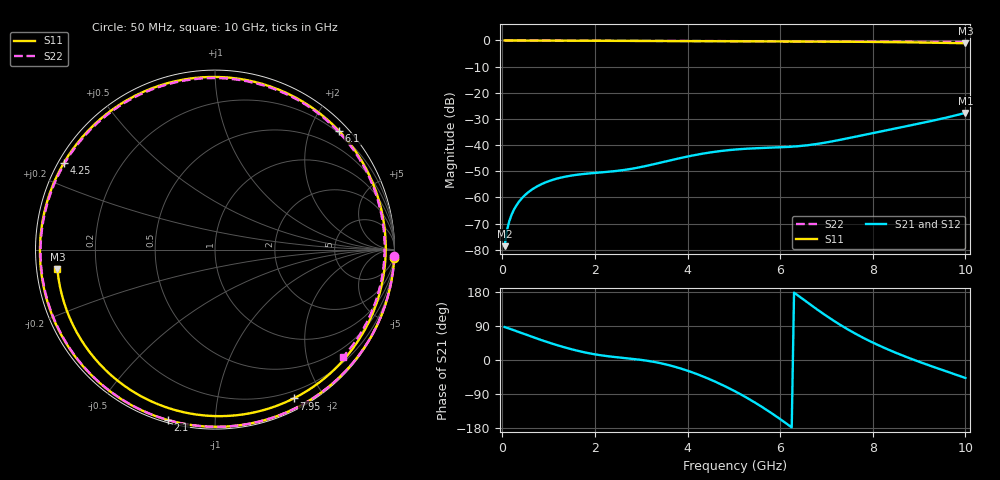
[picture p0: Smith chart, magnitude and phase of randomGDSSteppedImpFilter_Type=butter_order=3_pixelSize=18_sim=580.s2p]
! freq	dB(S11)	phase(S11)	dB(S12)	phase(S12)
!  dB(S21)	phase(S21)	dB(S22)	phase(S22)
!S-par simulation data
#  GHz  S  DB  R 50
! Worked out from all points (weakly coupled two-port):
!   200 points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, 50 MHz to 10 GHz, reference 50 ohm
!   highest |S21| = -27.69 dB at 10 GHz (marker M1); lowest = -78.6 dB at 50 MHz (marker M2)
!   lowest |S11| = -1.1 dB at 10 GHz (marker M3), VSWR 16.39, Z = 3.06 - j3.13 ohm
!   |S11| at or under -10 dB: nowhere
!   |S22| runs from -0.6 to 0.0 dB; largest |S21 - S12| = 0
!   S11 on the Smith chart (normalised r, x): 50 MHz: 0, -43; 2.1 GHz: 0.01, -0.76; 4.25 GHz: 0.02, +0.27; 6.1 GHz: 0.16, +2.49; 7.95 GHz: 0.12, -1.65; 10 GHz: 0.06, -0.06
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0.05  -0.00 -2.6  -78.63 86.9  -78.63 86.9  -0.00 -2.0
0.1  -0.01 -5.3  -72.62 85.1  -72.62 85.1  -0.00 -4.0
0.2  -0.01 -10.4  -66.64 80.7  -66.64 80.7  -0.01 -8.0
0.5  -0.03 -26.0  -58.94 67.3  -58.94 67.3  -0.03 -19.9
1.15  -0.08 -59.0  -52.95 40.4  -52.95 40.4  -0.06 -45.3
1.75  -0.11 -88.5  -51.04 20.9  -51.04 20.9  -0.09 -68.3
2.1  -0.13 -105.4  -50.48 13.0  -50.48 13.0  -0.10 -81.4
2.8  -0.16 -138.6  -49.03 3.1  -49.03 3.1  -0.13 -107.2
3.4  -0.20 -167.3  -46.78 -8.0  -46.78 -8.0  -0.16 -129.0
3.85  -0.23 170.6  -44.93 -22.3  -44.93 -22.3  -0.19 -145.5
4.25  -0.26 150.1  -43.51 -39.4  -43.51 -39.4  -0.21 -160.2
5.05  -0.32 106.2  -41.66 -84.2  -41.66 -84.2  -0.27 169.3
5.55  -0.35 76.9  -41.14 -119.4  -41.14 -119.4  -0.30 149.2
6.1  -0.39 43.7  -40.77 -164.5  -40.77 -164.5  -0.34 126.1
6.7  -0.42 7.6  -39.81 142.0  -39.81 142.0  -0.38 99.6
7.25  -0.47 -24.2  -38.14 96.4  -38.14 96.4  -0.41 74.6
7.95  -0.56 -62.2  -35.59 49.0  -35.59 49.0  -0.44 42.7
8.35  -0.63 -83.0  -34.14 26.7  -34.14 26.7  -0.45 25.0
8.75  -0.71 -103.5  -32.69 6.8  -32.69 6.8  -0.48 7.9
9.15  -0.81 -124.3  -31.21 -11.3  -31.21 -11.3  -0.51 -8.4
9.6  -0.94 -149.0  -29.44 -30.5  -29.44 -30.5  -0.56 -25.7
10  -1.06 -172.8  -27.69 -47.4  -27.69 -47.4  -0.62 -40.2
